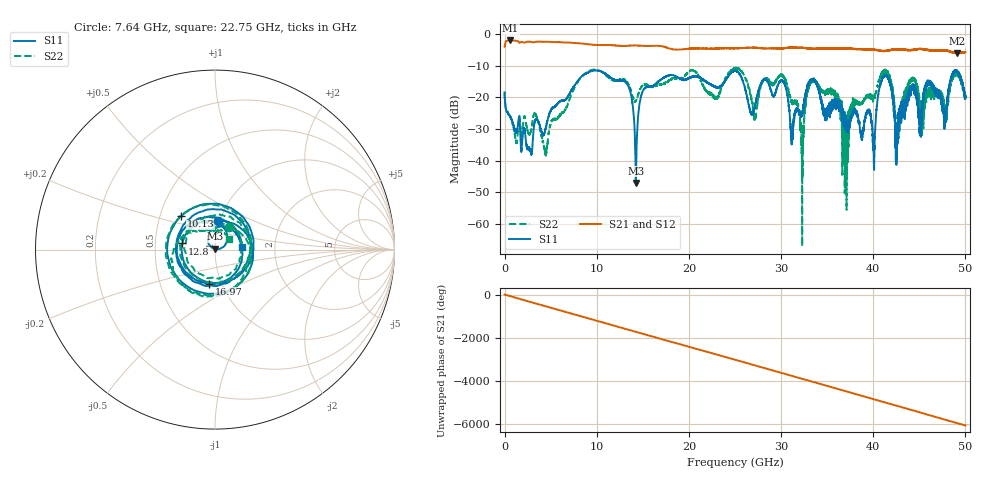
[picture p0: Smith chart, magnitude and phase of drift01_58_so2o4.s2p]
!Created with skrf (http://scikit-rf.org).
# Hz S RI R 50.0
!freq ReS11 ImS11 ReS21 ImS21 ReS12 ImS12 ReS22 ImS22
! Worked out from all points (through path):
!   10001 points, 300 kHz to 50 GHz, reference 50 ohm
!   highest |S21| = -1.99 dB at 625.3 MHz (marker M1); lowest = -6.0 dB at 49.07 GHz (marker M2)
!   group delay of S21, straight-line fit = 336 ps
!   lowest |S11| = -47.0 dB at 14.25 GHz (marker M3), VSWR 1.01, Z = 50 + j0.446 ohm
!   |S11| at or under -10 dB: start of sweep to end of sweep
!   |S22| runs from -67.0 to -10.6 dB; largest |S21 - S12| = 0.018
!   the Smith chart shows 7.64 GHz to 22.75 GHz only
!   S11 on the Smith chart (normalised r, x): 7.64 GHz: 0.98, +0.32; 10.13 GHz: 0.64, +0.26; 12.8 GHz: 0.69, +0.05; 16.97 GHz: 0.87, -0.35; 22.75 GHz: 1.35, +0.04
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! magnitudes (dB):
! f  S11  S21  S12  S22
! 300 kHz  -18.5  -3.9  -4.0  -18.1
! 625.3 MHz  -26.1  -2.0  -2.0  -26.1
! 4.445 GHz  -29.9  -2.4  -2.4  -37.7
! 7.64 GHz  -16.0  -2.8  -2.8  -16.6
! 8.335 GHz  -13.5  -3.0  -2.9  -13.5
! 10.13 GHz  -11.5  -3.4  -3.4  -11.4
! 12.8 GHz  -14.6  -3.7  -3.7  -14.2
! 14.25 GHz  -47.0  -3.6  -3.5  -21.1
! 16.67 GHz  -14.9  -3.7  -3.7  -15.9
! 16.97 GHz  -14.3  -3.8  -3.8  -15.7
! 22.75 GHz  -16.5  -4.6  -4.6  -20.2
! 25 GHz  -11.5  -4.5  -4.5  -10.9
! 27.17 GHz  -22.6  -4.3  -4.3  -25.9
! 30.22 GHz  -14.8  -4.5  -4.5  -13.4
! 32.28 GHz  -25.1  -4.3  -4.3  -52.2
! 33.34 GHz  -14.3  -4.6  -4.6  -14.9
! 36.99 GHz  -30.3  -4.6  -4.4  -29.9
! 40.05 GHz  -38.3  -4.9  -4.9  -19.7
! 41.67 GHz  -14.0  -5.1  -5.1  -13.2
! 42.61 GHz  -32.2  -4.8  -4.8  -31.5
! 49.07 GHz  -11.6  -6.0  -5.9  -12.8
! 50 GHz  -19.5  -5.7  -5.8  -19.4
